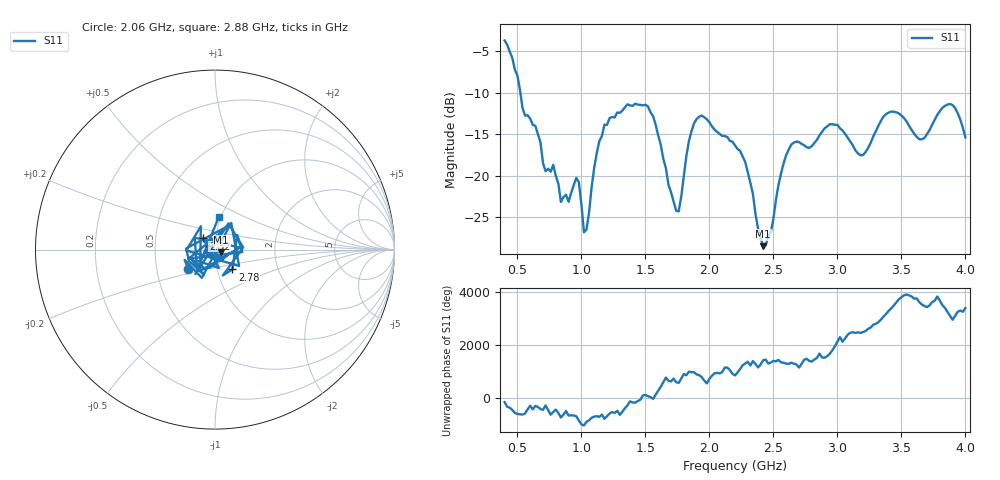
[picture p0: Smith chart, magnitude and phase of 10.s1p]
!Created with skrf (http://scikit-rf.org).
# Hz S RI R 50.0
!freq ReS11 ImS11
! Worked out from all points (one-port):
!   181 points, 400 MHz to 4 GHz, reference 50 ohm
!   lowest |S11| = -28.5 dB at 2.42 GHz (marker M1), VSWR 1.08, Z = 53.5 - j1.59 ohm
!   |S11| at or under -10 dB: 523.3 MHz to end of sweep
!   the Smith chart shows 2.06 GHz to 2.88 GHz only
!   S11 on the Smith chart (normalised r, x): 2.06 GHz: 0.72, -0.16; 2.32 GHz: 0.87, +0.11; 2.78 GHz: 1.18, -0.27; 2.88 GHz: 0.97, +0.37
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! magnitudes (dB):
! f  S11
! 400 MHz  -3.7
! 720 MHz  -19.5
! 780 MHz  -18.7
! 860 MHz  -22.6
! 960 MHz  -20.3
! 980 MHz  -20.8
! 1.02 GHz  -26.9
! 1.04 GHz  -26.5
! 1.14 GHz  -15.8
! 1.3 GHz  -12.4
! 1.52 GHz  -11.6
! 1.76 GHz  -24.3
! 1.88 GHz  -13.7
! 2.06 GHz  -14.7
! 2.2 GHz  -16.4
! 2.32 GHz  -20.9
! 2.42 GHz  -28.5
! 2.58 GHz  -18.5
! 2.66 GHz  -16.0
! 2.78 GHz  -16.7
! 2.88 GHz  -14.7
! 3.1 GHz  -15.9
! 3.2 GHz  -17.5
! 3.42 GHz  -12.3
! 3.56 GHz  -14.0
! 3.68 GHz  -15.5
! 3.88 GHz  -11.3
! 4 GHz  -15.4
